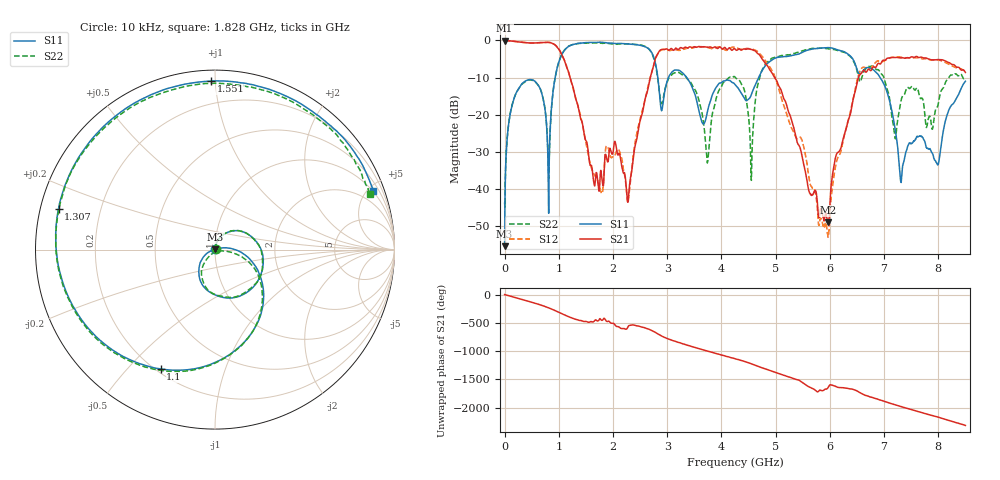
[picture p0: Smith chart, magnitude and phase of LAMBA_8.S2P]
!Agilent Technologies,E5071C,MY46104870,A.11.22
!Date: Sun Jan 01 02:02:43 2017
!Data & Calibration Information:
!Freq	S11:SOLT2(ON)	S21:SOLT2(ON)	S12:SOLT2(ON)	S22:SOLT2(ON)
!PortZ  Port1:50+j0  Port2:50+j0
!Above PortZ is port z conversion or system Z0 setting when saving the data.
!When reading, reference impedance value at option line is always used.
# Hz S dB R 50
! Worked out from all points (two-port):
!   1601 points, 10 kHz to 8.5 GHz, reference 50 ohm
!   highest |S21| = 0.00 dB at 10 kHz (marker M1); lowest = -48.9 dB at 5.966 GHz (marker M2)
!   |S21| within 3 dB of the highest: start of sweep to 1.029 GHz; 2.848 GHz to 4.637 GHz (1.789 GHz wide, 47.8 % of centre)
!   lowest |S11| = -55.3 dB at 10 kHz (marker M3), VSWR 1.00, Z = 50.1 + j0.143 ohm
!   |S11| at or under -10 dB: start of sweep to 932.3 MHz; 3.361 GHz to 4.684 GHz (1.323 GHz wide, 32.9 % of centre); 6.928 GHz to end of sweep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
!   |S22| runs from -44.8 to -0.6 dB; largest |S21 - S12| = 0.1
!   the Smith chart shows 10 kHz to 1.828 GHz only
!   S11 on the Smith chart (normalised r, x): 10 kHz: 1.00, +0.00; 1.1 GHz: 0.22, -0.62; 1.307 GHz: 0.05, +0.13; 1.551 GHz: 0.06, +0.98; 1.828 GHz: 0.93, +5.39
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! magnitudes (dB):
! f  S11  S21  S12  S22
! 10 kHz  -55.3  0.0  0.0  -43.6
! 191.3 MHz  -14.9  -0.3  -0.3  -14.9
! 616.3 MHz  -12.0  -0.6  -0.6  -12.0
! 812.8 MHz  -46.5  -0.5  -0.5  -37.2
! 1.1 GHz  -2.7  -5.2  -5.2  -2.7
! 1.307 GHz  -0.9  -15.4  -15.3  -0.9
! 1.418 GHz  -0.7  -21.5  -21.3  -0.7
! 1.551 GHz  -0.5  -31.0  -31.4  -0.7
! 1.828 GHz  -0.5  -38.2  -37.2  -0.7
! 2.284 GHz  -0.9  -42.2  -42.8  -0.9
! 2.837 GHz  -11.3  -3.3  -3.3  -11.5
! 3.427 GHz  -11.5  -1.7  -2.0  -11.1
! 3.74 GHz  -19.3  -1.8  -1.8  -32.9
! 4.25 GHz  -11.8  -2.3  -1.8  -9.8
! 4.553 GHz  -14.5  -2.4  -2.3  -37.6
! 4.797 GHz  -7.0  -5.9  -5.1  -6.7
! 5.668 GHz  -2.3  -41.6  -39.6  -2.1
! 5.966 GHz  -1.9  -48.9  -52.9  -2.2
! 6.54 GHz  -9.0  -9.5  -8.8  -10.6
! 7.087 GHz  -15.4  -4.7  -4.8  -14.5
! 7.321 GHz  -37.2  -4.7  -4.5  -15.7
! 8.5 GHz  -11.0  -8.6  -8.4  -10.1
